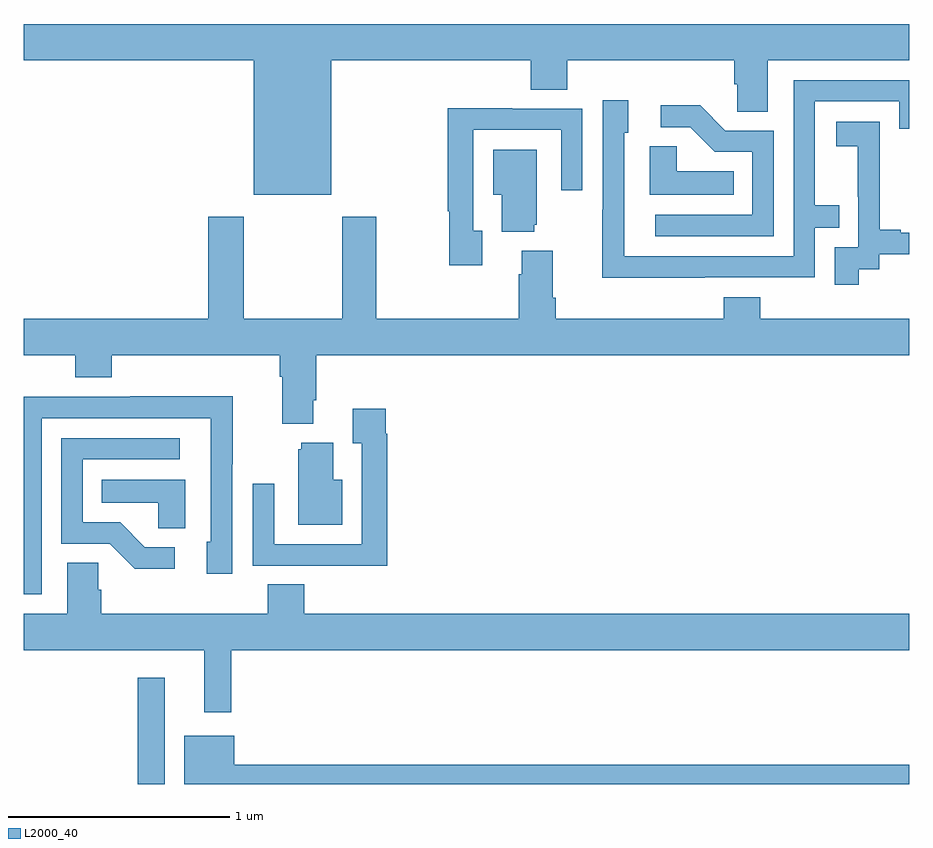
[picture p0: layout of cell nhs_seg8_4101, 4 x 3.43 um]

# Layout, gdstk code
import gdstk
lib = gdstk.Library(unit=1e-6, precision=1e-09)
def R(c, l, rs):  # rectangles x0, y0, x1, y1
    for r in rs: c.add(gdstk.rectangle(r[:2], r[2:], *l))
def P(c, l, *ps):  # polygons
    for p in ps: c.add(gdstk.Polygon(p, *l))
L2000_40 = (2000, 40)

nhs_seg8_4101 = lib.new_cell('nhs_seg8_4101')
R(nhs_seg8_4101, L2000_40, [(363.516,1111.9,363.637,1112.38)])
P(nhs_seg8_4101, L2000_40, [(364.39,1115.168),(365.291,1115.168),(365.291,1115.035),(365.456,1115.035),(365.456,1115.168),(366.209,1115.168),(366.209,1115.059),(366.222,1115.059),(366.222,1114.936),(366.361,1114.936),(366.361,1115.168),(367,1115.168),(367,1115.332),(363,1115.332),(363,1115.168),(364.04,1115.168),(364.04,1114.562),(364.39,1114.562)],
  [(366.077,1114.188),(366.573,1114.188),(366.573,1114.413),(366.683,1114.413),(366.683,1114.514),(366.573,1114.514),(366.573,1114.983),(366.954,1114.983),(366.954,1114.86),(367,1114.86),(367,1115.079),(366.477,1115.079),(366.477,1114.284),(365.712,1114.284),(365.712,1114.842),(365.731,1114.842),(365.731,1114.987),(365.616,1114.987),(365.616,1114.493),(365.614,1114.493),(365.614,1114.187),(366.077,1114.187)],
  [(366.387,1114.851),(366.168,1114.851),(366.055,1114.964),(365.877,1114.964),(365.877,1114.866),(366.011,1114.866),(366.122,1114.755),(366.291,1114.755),(366.291,1114.47),(365.853,1114.47),(365.853,1114.374),(366.387,1114.374)],
  [(365.071,1114.398),(365.031,1114.398),(365.031,1114.854),(365.427,1114.854),(365.427,1114.581),(365.523,1114.581),(365.523,1114.95),(365.207,1114.95),(365.207,1114.952),(364.915,1114.952),(364.915,1114.486),(364.923,1114.486),(364.923,1114.242),(365.071,1114.242)],
  [(366.772,1114.225),(366.864,1114.225),(366.864,1114.293),(367,1114.293),(367,1114.389),(366.961,1114.389),(366.961,1114.402),(366.866,1114.402),(366.866,1114.685),(366.867,1114.685),(366.867,1114.891),(366.669,1114.891),(366.669,1114.781),(366.767,1114.781),(366.767,1114.553),(366.768,1114.553),(366.768,1114.323),(366.663,1114.323),(366.663,1114.155),(366.772,1114.155)],
  [(366.206,1114.666),(365.949,1114.666),(365.949,1114.781),(365.828,1114.781),(365.828,1114.562),(366.206,1114.562)],
  [(365.306,1114.425),(365.317,1114.425),(365.317,1114.765),(365.12,1114.765),(365.12,1114.562),(365.159,1114.562),(365.159,1114.394),(365.306,1114.394)],
  [(364.309,1113.634),(364.322,1113.634),(364.322,1113.836),(367,1113.836),(367,1114),(366.326,1114),(366.326,1114.099),(366.161,1114.099),(366.161,1114),(365.402,1114),(365.402,1114.096),(365.389,1114.096),(365.389,1114.309),(365.249,1114.309),(365.249,1114.202),(365.237,1114.202),(365.237,1114),(364.593,1114),(364.593,1114.462),(364.438,1114.462),(364.438,1114),(363.993,1114),(363.993,1114.462),(363.833,1114.462),(363.833,1114),(363,1114),(363,1113.836),(363.233,1113.836),(363.233,1113.737),(363.398,1113.737),(363.398,1113.836),(364.157,1113.836),(364.157,1113.74),(364.169,1113.74),(364.169,1113.527),(364.309,1113.527)],
  [(363.081,1113.552),(363.846,1113.552),(363.846,1112.994),(363.827,1112.994),(363.827,1112.85),(363.942,1112.85),(363.942,1113.343),(363.945,1113.343),(363.945,1113.65),(363.481,1113.65),(363.481,1113.648),(363,1113.648),(363,1112.757),(363.081,1112.757)],
  [(364.643,1113.482),(364.636,1113.482),(364.636,1113.595),(364.487,1113.595),(364.487,1113.439),(364.527,1113.439),(364.527,1112.982),(364.131,1112.982),(364.131,1113.256),(364.035,1113.256),(364.035,1112.886),(364.351,1112.886),(364.351,1112.885),(364.643,1112.885)],
  [(363.682,1112.97),(363.547,1112.97),(363.436,1113.081),(363.267,1113.081),(363.267,1113.366),(363.706,1113.366),(363.706,1113.462),(363.171,1113.462),(363.171,1112.985),(363.39,1112.985),(363.503,1112.873),(363.682,1112.873)],
  [(364.438,1113.274),(364.399,1113.274),(364.399,1113.442),(364.253,1113.442),(364.253,1113.411),(364.241,1113.411),(364.241,1113.071),(364.438,1113.071)],
  [(363.73,1113.274),(363.352,1113.274),(363.352,1113.17),(363.609,1113.17),(363.609,1113.055),(363.73,1113.055)],
  [(363.937,1112.504),(367,1112.504),(367,1112.668),(364.268,1112.668),(364.268,1112.801),(364.103,1112.801),(364.103,1112.668),(363.35,1112.668),(363.35,1112.777),(363.336,1112.777),(363.336,1112.9),(363.197,1112.9),(363.197,1112.668),(363,1112.668),(363,1112.504),(363.815,1112.504),(363.815,1112.223),(363.937,1112.223)],
  [(367,1111.988),(363.952,1111.988),(363.952,1112.119),(363.725,1112.119),(363.725,1111.9),(367,1111.9)])

lib.write_gds('nhs_seg8_4101.gds')
